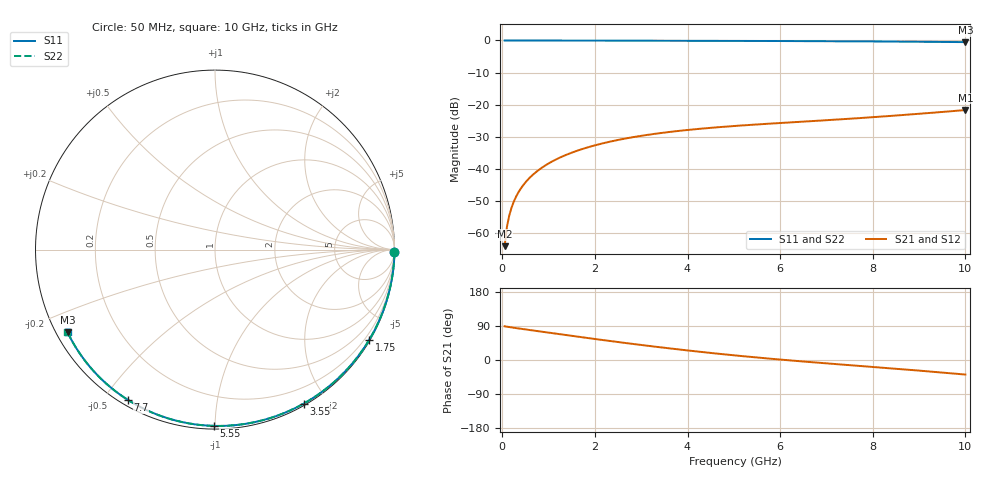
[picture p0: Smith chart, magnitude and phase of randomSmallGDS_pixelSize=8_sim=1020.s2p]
! freq	dB(S11)	phase(S11)	dB(S12)	phase(S12)
!  dB(S21)	phase(S21)	dB(S22)	phase(S22)
!S-par simulation data
#  GHz  S  DB  R 50
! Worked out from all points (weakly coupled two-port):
!   200 points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, 50 MHz to 10 GHz, reference 50 ohm
!   highest |S21| = -21.66 dB at 10 GHz (marker M1); lowest = -64.0 dB at 50 MHz (marker M2)
!   lowest |S11| = -0.5 dB at 10 GHz (marker M3), VSWR 33.43, Z = 1.6 - j13 ohm
!   |S11| at or under -10 dB: nowhere
!   |S22| runs from -0.5 to 0.0 dB; largest |S21 - S12| = 0
!   S11 on the Smith chart (normalised r, x): 50 MHz: open; 1.75 GHz: 0.03, -3.67; 3.55 GHz: 0.02, -1.73; 5.55 GHz: 0.02, -0.99; 7.7 GHz: 0.02, -0.58; 10 GHz: 0.03, -0.26
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0.05  -0.00 -0.9  -63.99 88.9  -63.99 88.9  -0.00 -0.9
0.1  -0.00 -1.8  -57.99 87.9  -57.99 87.9  -0.00 -1.8
0.15  -0.00 -2.7  -54.48 86.9  -54.48 86.9  -0.00 -2.7
0.2  -0.00 -3.5  -52.00 86.0  -52.00 86.0  -0.00 -3.5
0.25  -0.00 -4.4  -50.09 85.0  -50.09 85.0  -0.00 -4.4
0.35  -0.00 -6.2  -47.20 83.3  -47.20 83.3  -0.00 -6.2
0.5  -0.01 -8.8  -44.15 80.7  -44.15 80.7  -0.01 -8.8
0.7  -0.01 -12.3  -41.28 77.3  -41.28 77.3  -0.01 -12.3
1  -0.02 -17.6  -38.26 72.2  -38.26 72.2  -0.02 -17.6
1.35  -0.03 -23.6  -35.76 66.2  -35.76 66.2  -0.03 -23.6
1.75  -0.04 -30.5  -33.67 59.5  -33.67 59.5  -0.04 -30.5
2.5  -0.06 -43.1  -30.95 47.4  -30.95 47.4  -0.06 -43.1
3.4  -0.08 -57.7  -28.84 33.7  -28.84 33.7  -0.08 -57.7
3.55  -0.09 -60.1  -28.57 31.5  -28.57 31.5  -0.09 -60.1
4.3  -0.11 -71.8  -27.43 21.2  -27.43 21.2  -0.11 -71.8
5.05  -0.13 -83.0  -26.57 11.8  -26.57 11.8  -0.13 -83.1
5.55  -0.16 -90.3  -26.08 6.0  -26.08 6.0  -0.16 -90.4
6.7  -0.21 -106.5  -25.07 -6.0  -25.07 -6.0  -0.22 -106.6
7.7  -0.28 -120.1  -24.17 -15.5  -24.17 -15.5  -0.28 -120.1
8.35  -0.34 -128.8  -23.52 -21.6  -23.52 -21.6  -0.34 -128.8
9.2  -0.42 -140.0  -22.59 -30.0  -22.59 -30.0  -0.42 -140.1
10  -0.52 -150.7  -21.66 -38.5  -21.66 -38.5  -0.52 -150.8
